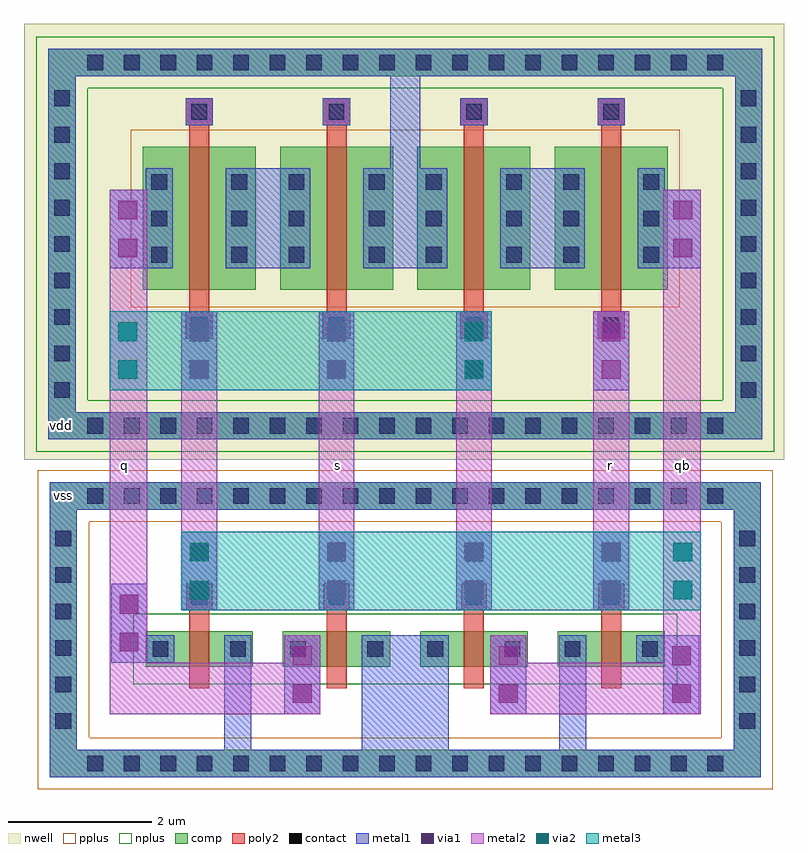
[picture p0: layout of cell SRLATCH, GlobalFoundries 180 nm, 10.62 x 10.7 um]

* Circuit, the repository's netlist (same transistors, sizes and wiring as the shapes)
** sch_path: /foss/designs/SRlatch.sch
.subckt SRlatch vdd s q qb r vss
*.PININFO s:B r:B q:B qb:B vdd:B vss:B
x1 vdd s qb q vss NOR
x2 vdd q r qb vss NOR
.ends

* expanding   symbol:  NOR.sym # of pins=5
** sym_path: /foss/designs/NOR.sym
** sch_path: /foss/designs/NOR.sch
.subckt NOR vdd a b out vss
*.PININFO vdd:B vss:B a:B b:B out:B
M1 out a vss vss nfet_03v3 L=0.28u W=0.5u nf=1 m=1
M2 net1 a vdd vdd pfet_03v3 L=0.28u W=2u nf=1 m=1
M3 out b net1 vdd pfet_03v3 L=0.28u W=2u nf=1 m=1
M4 out b vss vss nfet_03v3 L=0.28u W=0.5u nf=1 m=1
.ends

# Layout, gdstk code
from math import pi, radians
import gdstk
lib = gdstk.Library(unit=1e-6, precision=5e-09)
def R(c, l, rs):  # rectangles x0, y0, x1, y1
    for r in rs: c.add(gdstk.rectangle(r[:2], r[2:], *l))
def A(c, l, x, y, w, h, nx, ny, dx, dy):  # array of equal rectangles
    R(c, l, [(x+i*dx, y+j*dy, x+i*dx+w, y+j*dy+h) for i in range(nx) for j in range(ny)])
nwell = (21, 0)
comp = (22, 0)
poly2 = (30, 0)
pplus = (31, 0)
nplus = (32, 0)
contact = (33, 0)
metal1 = (34, 0)
via1 = (35, 0)
metal2 = (36, 0)
via2 = (38, 0)
metal3 = (42, 0)

nfet_1 = lib.new_cell('nfet$1')
R(nfet_1, comp, [(-0.42,0,0,0.5), (0,0,0.66,0.5), (0.66,0,1.08,0.5)])
R(nfet_1, poly2, [(0.19,-0.3,0.47,0.8), (0.15,0.8,0.51,1.16)])
R(nfet_1, nplus, [(-0.59,-0.24,1.25,0.74)])
R(nfet_1, contact, [(-0.32,0.14,-0.1,0.36), (0.76,0.14,0.98,0.36), (0.22,0.87,0.44,1.09)])
R(nfet_1, metal1, [(-0.4,0.06,-0.02,0.44), (0.68,0.06,1.06,0.44), (0.14,0.79,0.52,1.17)])

pfet_1 = lib.new_cell('pfet$1')
R(pfet_1, nwell, [(-0.9,-0.44,1.56,2.44)])
R(pfet_1, comp, [(-0.46,0,0,2), (0,0,0.66,2), (0.66,0,1.12,2)])
R(pfet_1, poly2, [(0.14,-0.68,0.52,-0.3), (0.19,-0.3,0.47,2.3), (0.14,2.3,0.52,2.68)])
R(pfet_1, pplus, [(-0.63,-0.24,1.29,2.24)])
A(pfet_1, contact, -0.34, 0.38, 0.22, 0.22, 1, 3, 0, 0.51)
A(pfet_1, contact, 0.78, 0.38, 0.22, 0.22, 1, 3, 0, 0.51)
R(pfet_1, contact, [(0.22,-0.6,0.44,-0.38), (0.22,2.38,0.44,2.6)])
R(pfet_1, metal1, [(0.14,-0.68,0.52,-0.3), (-0.42,0.3,-0.04,1.7), (0.7,0.3,1.08,1.7), (0.14,2.3,0.52,2.68)])

via_dev_1 = lib.new_cell('via_dev$1')
R(via_dev_1, metal1, [(0,0,0.5,1.1)])
R(via_dev_1, via1, [(0.12,0.155,0.38,0.415), (0.12,0.685,0.38,0.945)])
R(via_dev_1, metal2, [(0,0,0.5,1.1)])
R(via_dev_1, via2, [(0.12,0.155,0.38,0.415), (0.12,0.685,0.38,0.945)])
R(via_dev_1, metal3, [(0,0,0.5,1.1)])

via_dev = lib.new_cell('via_dev')
R(via_dev, metal1, [(0,0,0.5,1.1)])
R(via_dev, via1, [(0.12,0.155,0.38,0.415), (0.12,0.685,0.38,0.945)])
R(via_dev, metal2, [(0,0,0.5,1.1)])

via_dev_3 = lib.new_cell('via_dev$3')
R(via_dev_3, metal2, [(0,0,0.5,1.1)])
R(via_dev_3, via2, [(0.12,0.155,0.38,0.415), (0.12,0.685,0.38,0.945)])
R(via_dev_3, metal3, [(0,0,0.5,1.1)])

srlatch = lib.new_cell('SRLATCH')
R(srlatch, nwell, [(-2.95,1.7,7.675,7.795)])
R(srlatch, pplus, [(-2.76,-2.905,-2.04,1.555), (-2.04,-2.905,7.52,-2.185), (6.8,-2.905,7.52,1.555), (-2.04,0.835,7.52,1.555)])
A(srlatch, nplus, 0.42, -1.435, 0.08, 0.98, 3, 1, 1.92, 0)
R(srlatch, nplus, [(-2.78,1.815,-2.06,7.615), (-2.06,1.815,7.54,2.535), (6.82,1.815,7.54,7.615), (-2.06,6.895,7.54,7.615)])
A(srlatch, contact, -2.065, -2.655, 0.22, 0.22, 18, 2, 0.51, 3.74)
A(srlatch, contact, -2.51, -2.06, 0.22, 0.22, 1, 6, 0, 0.51)
A(srlatch, contact, 7.05, -2.06, 0.22, 0.22, 1, 6, 0, 0.51)
A(srlatch, contact, -2.065, 2.065, 0.22, 0.22, 18, 2, 0.51, 5.08)
A(srlatch, contact, -2.53, 2.565, 0.22, 0.22, 1, 9, 0, 0.51)
A(srlatch, contact, 7.07, 2.565, 0.22, 0.22, 1, 9, 0, 0.51)
R(srlatch, metal1, [(-2.59,-2.735,-2.21,1.385), (-2.21,-2.735,6.97,-2.355), (6.97,-2.735,7.35,1.385), (-0.15,-2.355,0.23,-1.135), (1.77,-2.355,2.99,-0.755), (4.53,-2.355,4.91,-1.135), (-2.21,1.005,6.97,1.385), (-2.61,1.985,7.37,2.365), (-2.61,2.365,-2.23,7.065), (6.99,2.365,7.37,7.445), (0.25,4.375,0.67,5.775), (2.17,4.375,2.59,7.065), (4.09,4.375,4.51,5.775), (-2.61,7.065,6.99,7.445)])
A(srlatch, metal2, -0.75, 0.695, 0.5, 1.98, 4, 1, 1.92, 0)
R(srlatch, metal2, [(-1.75,-1.855,0.69,-1.135), (4.07,-1.855,6.51,-1.135), (-1.75,-1.135,-1.23,5.475), (5.99,-1.135,6.51,5.475)])
R(srlatch, metal3, [(-0.25,-0.405,6.51,0.695), (-1.75,2.675,3.09,3.775)])
srlatch.add(gdstk.FlexPath([(-2.4,1.17),(-2.4,-2.545),(7.16,-2.545),(7.16,1.195),(-2.59,1.195)], 0.38, ends="flush", simple_path=True, layer=22, datatype=0))  # comp
srlatch.add(gdstk.FlexPath([(-2.42,7.225),(-2.42,2.175),(7.18,2.175),(7.18,7.255),(-2.61,7.255)], 0.38, ends="flush", simple_path=True, layer=22, datatype=0))  # comp
srlatch.add(gdstk.Reference(nfet_1, (-0.83,-1.195)))
srlatch.add(gdstk.Reference(pfet_1, (-0.83,4.075)))
srlatch.add(gdstk.Reference(pfet_1, (1.09,4.075)))
srlatch.add(gdstk.Reference(nfet_1, (1.09,-1.195)))
srlatch.add(gdstk.Reference(nfet_1, (3.01,-1.195)))
srlatch.add(gdstk.Reference(pfet_1, (3.01,4.075)))
srlatch.add(gdstk.Reference(pfet_1, (4.93,4.075)))
srlatch.add(gdstk.Reference(nfet_1, (4.93,-1.195)))
srlatch.add(gdstk.Reference(via_dev_1, (-0.75,-0.405)))
srlatch.add(gdstk.Reference(via_dev, (1.17,-0.405)))
srlatch.add(gdstk.Reference(via_dev, (-0.75,2.675)))
srlatch.add(gdstk.Reference(via_dev, (1.17,2.675)))
srlatch.add(gdstk.Reference(via_dev, (3.09,-0.405)))
srlatch.add(gdstk.Reference(via_dev_1, (3.09,2.675)))
srlatch.add(gdstk.Reference(via_dev, (5.01,-0.405)))
srlatch.add(gdstk.Reference(via_dev, (5.01,2.675)))
srlatch.add(gdstk.Reference(via_dev, (-1.75,4.375)))
srlatch.add(gdstk.Reference(via_dev, (-1.73,-1.135)))
srlatch.add(gdstk.Reference(via_dev, (6.51,4.375), rotation=pi, x_reflection=True))
srlatch.add(gdstk.Reference(via_dev, (6.49,-1.855), rotation=pi, x_reflection=True))
srlatch.add(gdstk.Reference(via_dev, (0.69,-1.855)))
srlatch.add(gdstk.Reference(via_dev, (3.57,-1.855)))
srlatch.add(gdstk.Reference(via_dev_3, (-1.75,2.675)))
srlatch.add(gdstk.Reference(via_dev_3, (6.01,-0.405)))
srlatch.add(gdstk.Label('q', (-1.54,1.625), layer=36, texttype=10))
srlatch.add(gdstk.Label('qb', (6.255,1.615), layer=36, texttype=10))
srlatch.add(gdstk.Label('s', (1.43,1.62), layer=36, texttype=10))
srlatch.add(gdstk.Label('r', (5.245,1.62), layer=36, texttype=10))
srlatch.add(gdstk.Label('vdd', (-2.42,2.175), layer=34, texttype=10))
srlatch.add(gdstk.Label('vss', (-2.4,1.195), layer=34, texttype=10))

lib.write_gds('SRLATCH.gds')
